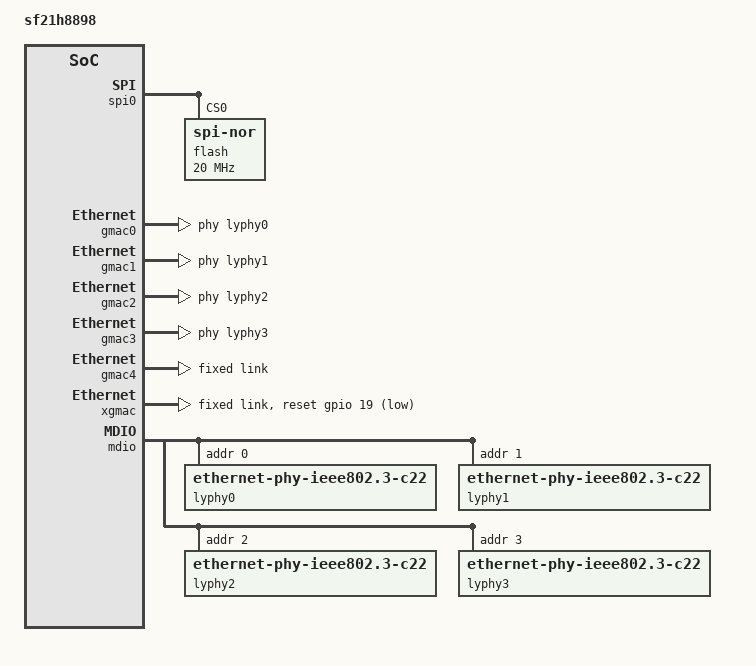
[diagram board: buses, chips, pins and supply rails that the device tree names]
// SPDX-License-Identifier: GPL-2.0

/dts-v1/;
#include "sf21h8898.dtsi"

/ {
	model = "sf21h8898";
	compatible = "siflower,sf21h8898";

	chosen {
		stdout-path = &uart1;
		tick-timer = &timer0;
	};

};

&uart1 {
	u-boot,dm-pre-reloc;
};

&watchdog {
	u-boot,dm-pre-reloc;
};

&timer0 {
	u-boot,dm-pre-reloc;
};

&spi0 {
	status = "okay";

	flash@0 {
		compatible = "jedec,spi-nor";
		reg = <0>;
		spi-max-frequency = <20000000>;
		spi-tx-bus-width = <4>;
		spi-rx-bus-width = <4>;
		#address-cells = <1>;
		#size-cells = <1>;
	};
};

&gmac0 {
	status = "okay";
	local-mac-address = [10 23 45 67 89 ab];
	phy-handle = <&lyphy0>;
};

&gmac1 {
	status = "okay";
	local-mac-address = [10 23 45 67 89 ab];
	phy-handle = <&lyphy1>;
};

&gmac2 {
	status = "okay";
	local-mac-address = [10 23 45 67 89 ab];
	phy-handle = <&lyphy2>;
};

&gmac3 {
	status = "okay";
	local-mac-address = [10 23 45 67 89 ab];
	phy-handle = <&lyphy3>;
};

&gmac4 {
	status = "okay";
	local-mac-address = [10 23 45 67 89 ab];
	tx-internal-delay-ps = <6762>;

	fixed-link {
		speed = <1000>;
		full-duplex;
		pause;
	};
};

&xgmac {
	status = "okay";
	local-mac-address = [10 23 45 67 89 ab];
	reset-gpios = <&gpio 19 GPIO_ACTIVE_LOW>;
	pause-gpios = <&gpio 1 GPIO_ACTIVE_HIGH>;
	reset-assert-us = <10000>;
	reset-deassert-us = <100000>;

	fixed-link {
		speed = <10000>;
		full-duplex;
		pause;
	};
};

&mdio {
	lyphy0: ethernet-phy@0 {
		compatible = "ethernet-phy-ieee802.3-c22";
		reg = <0x0>;
	};

	lyphy1: ethernet-phy@1 {
		compatible = "ethernet-phy-ieee802.3-c22";
		reg = <0x1>;
	};

	lyphy2: ethernet-phy@2 {
		compatible = "ethernet-phy-ieee802.3-c22";
		reg = <0x2>;
	};

	lyphy3: ethernet-phy@3 {
		compatible = "ethernet-phy-ieee802.3-c22";
		reg = <0x3>;
	};
};

&xpcs0 {
	enable;
};

&xpcs1 {
	enable;
};
